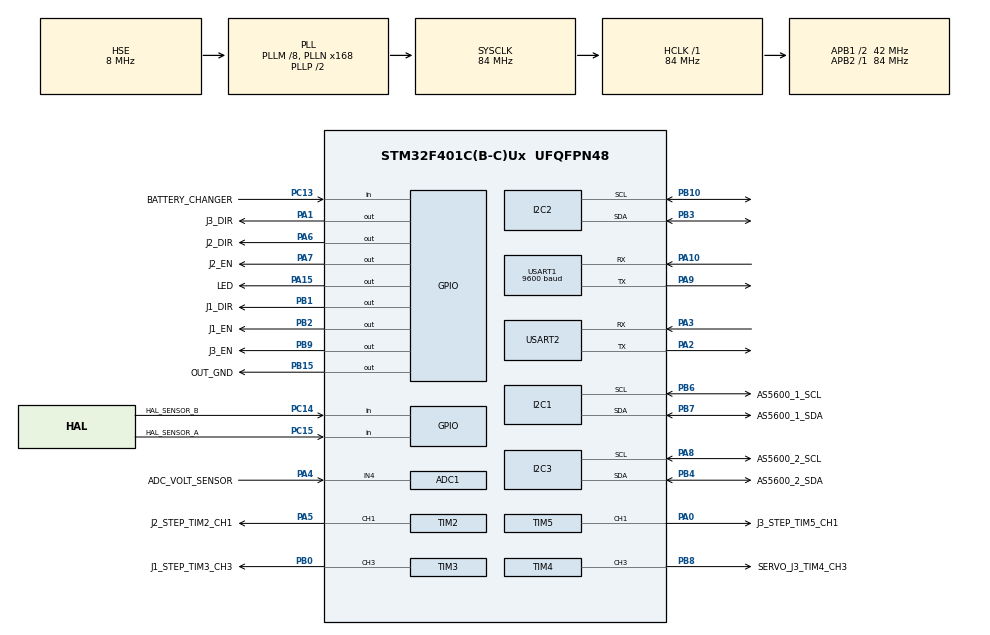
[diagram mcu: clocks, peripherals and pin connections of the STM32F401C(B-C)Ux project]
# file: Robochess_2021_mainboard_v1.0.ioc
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VP_TIM5_VS_ClockSourceINT.Mode=Internal
NVIC.I2C1_EV_IRQn=true\:5\:0\:false\:false\:true\:true\:true\:true
PB10.Mode=I2C
Dma.USART1_RX.5.Mode=DMA_NORMAL
PA10.GPIO_PuPd=GPIO_PULLUP
NVIC.DMA1_Stream2_IRQn=true\:5\:0\:false\:false\:true\:true\:false\:true
PA3.GPIO_PuPd=GPIO_PULLUP
Dma.USART2_RX.6.MemDataAlignment=DMA_MDATAALIGN_BYTE
PA6.GPIO_Label=J2_DIR
PB6.GPIO_Label=AS5600_1_SCL
PC15-OSC32_OUT.GPIO_Label=HAL_SENSOR_A
Dma.I2C1_RX.3.Priority=DMA_PRIORITY_HIGH
RCC.SYSCLKSource=RCC_SYSCLKSOURCE_PLLCLK
Dma.USART2_RX.6.Direction=DMA_PERIPH_TO_MEMORY
Dma.I2C1_RX.3.FIFOMode=DMA_FIFOMODE_DISABLE
NVIC.TIM5_IRQn=true\:5\:0\:false\:false\:true\:true\:true\:true
RCC.APB2TimFreq_Value=84000000
Dma.ADC1.0.Direction=DMA_PERIPH_TO_MEMORY
VP_TIM10_VS_ClockSourceINT.Mode=Enable_Timer
PB6.Signal=I2C1_SCL
PB6.Mode=I2C
Dma.USART2_RX.6.Instance=DMA1_Stream5
Dma.ADC1.0.MemDataAlignment=DMA_MDATAALIGN_HALFWORD
Dma.I2C2_TX.2.Direction=DMA_MEMORY_TO_PERIPH
TIM5.Pulse-PWM\ Generation1\ CH1=2
Dma.I2C1_RX.3.Mode=DMA_NORMAL
Dma.I2C2_RX.1.Mode=DMA_NORMAL
TIM3.Pulse-PWM\ Generation3\ CH3=2
NVIC.TIM1_TRG_COM_TIM11_IRQn=true\:0\:0\:false\:false\:true\:false\:false\:true
Dma.I2C2_TX.2.Priority=DMA_PRIORITY_VERY_HIGH
TIM4.Channel-PWM\ Generation3\ CH3=TIM_CHANNEL_3
PB2.Signal=GPIO_Output
PB3.Mode=I2C
PC13-ANTI_TAMP.Signal=GPIO_Input
PB1.GPIO_Label=J1_DIR
Dma.ADC1.0.PeriphInc=DMA_PINC_DISABLE
NVIC.TIM2_IRQn=true\:5\:0\:false\:false\:true\:true\:true\:true
PA8.Signal=I2C3_SCL
TIM4.Period=20000
VP_FREERTOS_VS_CMSIS_V1.Mode=CMSIS_V1
NVIC.I2C1_ER_IRQn=true\:15\:0\:true\:false\:true\:true\:true\:true
ADC1.SamplingTime-0\#ChannelRegularConversion=ADC_SAMPLETIME_480CYCLES
Mcu.Package=UFQFPN48
PB9.Signal=GPIO_Output
TIM2.Prescaler=83
PB1.Signal=GPIO_Output
NVIC.TimeBase=TIM1_TRG_COM_TIM11_IRQn
Dma.USART1_RX.5.MemDataAlignment=DMA_MDATAALIGN_BYTE
Dma.I2C2_TX.2.FIFOMode=DMA_FIFOMODE_DISABLE
NVIC.TimeBaseIP=TIM11
PA10.Signal=USART1_RX
Dma.I2C2_RX.1.PeriphInc=DMA_PINC_DISABLE
NVIC.DMA2_Stream2_IRQn=true\:5\:0\:false\:false\:true\:true\:false\:true
RCC.APB1TimFreq_Value=84000000
Dma.I2C2_RX.1.MemDataAlignment=DMA_MDATAALIGN_BYTE
Dma.ADC1.0.FIFOMode=DMA_FIFOMODE_DISABLE
Dma.I2C2_TX.2.Instance=DMA1_Stream7
NVIC.USART1_IRQn=true\:5\:0\:true\:false\:true\:true\:true\:true
PA4.GPIO_Label=ADC_VOLT_SENSOR
ADC1.EOCSelection=ADC_EOC_SEQ_CONV
Dma.I2C1_RX.3.MemDataAlignment=DMA_MDATAALIGN_BYTE
Dma.I2C2_TX.2.MemDataAlignment=DMA_MDATAALIGN_BYTE
TIM4.Pulse-PWM\ Generation3\ CH3=1000
Dma.ADC1.0.Instance=DMA2_Stream0
FREERTOS.Tasks01=defaultTask,1,4096,StartDefaultTask,As weak,NULL,Dynamic,NULL,NULL;motorJ1Task,2,2048,StartTaskMotorJ1,As weak,NULL,Dynamic,NULL,NULL;motorJ2Task,2,2048,StartTaskMotorJ2,As weak,NULL,Dynamic,NULL,NULL;moveTask,3,1024,StartTaskMove,As weak,NULL,Dynamic,NULL,NULL;motorJ3Task,2,1024,StartTaskMotorJ3,As weak,NULL,Dynamic,NULL,NULL
ADC1.Rank-0\#ChannelRegularConversion=1
Dma.I2C3_RX.4.Mode=DMA_NORMAL
TIM3.AutoReloadPreload=TIM_AUTORELOAD_PRELOAD_ENABLE
PC13-ANTI_TAMP.GPIO_Label=BATTERY_CHANGER
Dma.I2C2_RX.1.FIFOMode=DMA_FIFOMODE_DISABLE
PH1\ -\ OSC_OUT.Mode=HSE-External-Oscillator
RCC.APB1CLKDivider=RCC_HCLK_DIV2
PC14-OSC32_IN.Signal=GPIO_Input
Dma.USART2_RX.6.PeriphInc=DMA_PINC_DISABLE
PA0-WKUP.GPIO_Label=J3_STEP_TIM5_CH1
PA0-WKUP.Signal=S_TIM5_CH1
Dma.USART2_RX.6.FIFOMode=DMA_FIFOMODE_DISABLE
I2C2.OwnAddress=0x23
PA3.Mode=Asynchronous
Dma.USART2_RX.6.MemInc=DMA_MINC_ENABLE
TIM3.Channel-PWM\ Generation3\ CH3=TIM_CHANNEL_3
PB8.GPIO_Label=SERVO_J3_TIM4_CH3
Dma.USART2_RX.6.Mode=DMA_NORMAL
PA8.GPIO_Label=AS5600_2_SCL
Dma.I2C3_RX.4.MemInc=DMA_MINC_ENABLE
Dma.I2C3_RX.4.MemDataAlignment=DMA_MDATAALIGN_BYTE
I2C1.I2C_Mode=I2C_Standard
Dma.ADC1.0.Priority=DMA_PRIORITY_LOW
PA9.Signal=USART1_TX
NVIC.I2C2_ER_IRQn=true\:15\:0\:true\:false\:true\:true\:true\:true
PB10.Signal=I2C2_SCL
Dma.I2C2_RX.1.Instance=DMA1_Stream2
PA5.Signal=S_TIM2_CH1_ETR
PH1\ -\ OSC_OUT.Signal=RCC_OSC_OUT
NVIC.TIM3_IRQn=true\:5\:0\:false\:false\:true\:true\:true\:true
Dma.USART1_RX.5.PeriphDataAlignment=DMA_PDATAALIGN_BYTE
Dma.I2C2_RX.1.Direction=DMA_PERIPH_TO_MEMORY
PB4.GPIO_Label=AS5600_2_SDA
PB15.GPIO_Label=OUT_GND
PA1.GPIO_Label=J3_DIR
SH.ADCx_IN4.0=ADC1_IN4,IN4
TIM2.Period=1000
PA13.Mode=Serial_Wire
PA4.Signal=ADCx_IN4
ADC1.master=1
PA5.GPIO_Label=J2_STEP_TIM2_CH1
USART1.VirtualMode=VM_ASYNC
SH.S_TIM2_CH1_ETR.0=TIM2_CH1,PWM Generation1 CH1
TIM5.Channel-PWM\ Generation1\ CH1=TIM_CHANNEL_1
ProjectManager.HeapSize=0x200
Dma.I2C3_RX.4.Instance=DMA1_Stream1
NVIC.TIM1_UP_TIM10_IRQn=true\:5\:0\:false\:false\:true\:true\:true\:true
VP_TIM4_VS_ClockSourceINT.Mode=Internal
NVIC.PriorityGroup=NVIC_PRIORITYGROUP_4
NVIC.I2C3_ER_IRQn=true\:15\:0\:true\:false\:true\:true\:true\:true
TIM2.AutoReloadPreload=TIM_AUTORELOAD_PRELOAD_ENABLE
PA8.Mode=I2C
PB0.Signal=S_TIM3_CH3
Dma.I2C3_RX.4.FIFOMode=DMA_FIFOMODE_DISABLE
Mcu.Family=STM32F4
Dma.USART1_RX.5.FIFOMode=DMA_FIFOMODE_DISABLE
Dma.USART1_RX.5.Priority=DMA_PRIORITY_VERY_HIGH
PA2.GPIO_PuPd=GPIO_PULLUP
RCC.CortexFreq_Value=84000000
FREERTOS.BinarySemaphores01=binarySem_motorJ1,Dynamic,NULL;binarySem_motorJ2,Dynamic,NULL;binarySem_masterCmd,Dynamic,NULL;binarySem_motorJ3,Dynamic,NULL
Dma.I2C1_RX.3.Direction=DMA_PERIPH_TO_MEMORY
ADC1.ContinuousConvMode=ENABLE
Dma.USART1_RX.5.Direction=DMA_PERIPH_TO_MEMORY
USART1.BaudRate=9600
PB0.GPIO_Label=J1_STEP_TIM3_CH3
PB15.Signal=GPIO_Output
ProjectManager.StackSize=0x400
NVIC.ADC_IRQn=true\:15\:0\:true\:false\:true\:true\:true\:true
PA15.GPIO_Label=LED
Dma.USART1_RX.5.MemInc=DMA_MINC_ENABLE
PH0\ -\ OSC_IN.Signal=RCC_OSC_IN
PA7.PinState=GPIO_PIN_SET
RCC.HCLKFreq_Value=84000000
Dma.I2C3_RX.4.Priority=DMA_PRIORITY_HIGH
Dma.I2C2_RX.1.MemInc=DMA_MINC_ENABLE
ADC1.Resolution=ADC_RESOLUTION_10B
TIM3.Period=1000
NVIC.DMA2_Stream0_IRQn=true\:5\:0\:false\:false\:true\:true\:false\:true
RCC.AHBFreq_Value=84000000
ADC1.Channel-0\#ChannelRegularConversion=ADC_CHANNEL_4
TIM10.AutoReloadPreload=TIM_AUTORELOAD_PRELOAD_ENABLE
RCC.HSE_VALUE=8000000
FREERTOS.configUSE_TIMERS=1
NVIC.I2C3_EV_IRQn=true\:5\:0\:false\:false\:true\:true\:true\:true
PB4.Mode=I2C
Dma.I2C2_TX.2.MemInc=DMA_MINC_ENABLE
PA14.Mode=Serial_Wire
TIM3.Prescaler=83
PB7.Signal=I2C1_SDA
TIM2.Channel-PWM\ Generation1\ CH1=TIM_CHANNEL_1
FREERTOS.configTOTAL_HEAP_SIZE=42000
NVIC.DMA1_Stream7_IRQn=true\:5\:0\:false\:false\:true\:true\:false\:true
PB7.GPIO_Label=AS5600_1_SDA
Dma.I2C1_RX.3.PeriphInc=DMA_PINC_DISABLE
PA6.Signal=GPIO_Output
USART2.VirtualMode=VM_ASYNC
PA15.Signal=GPIO_Output
Dma.Request2=I2C2_TX
Dma.Request1=I2C2_RX
Dma.Request4=I2C3_RX
Dma.Request3=I2C1_RX
Dma.Request6=USART2_RX
SH.S_TIM5_CH1.0=TIM5_CH1,PWM Generation1 CH1
Dma.Request5=USART1_RX
NVIC.DMA1_Stream0_IRQn=true\:5\:0\:false\:false\:true\:true\:false\:true
PC14-OSC32_IN.GPIO_Label=HAL_SENSOR_B
I2C2.GeneralCallMode=I2C_GENERALCALL_DISABLE
Dma.Request0=ADC1
I2C2.I2C_Mode=I2C_Fast
VP_TIM3_VS_ClockSourceINT.Mode=Internal
PB4.Signal=I2C3_SDA
PA3.Signal=USART2_RX
Dma.USART2_RX.6.PeriphDataAlignment=DMA_PDATAALIGN_BYTE
RCC.PLLSourceVirtual=RCC_PLLSOURCE_HSE
TIM10.Prescaler=83
I2C3.I2C_Mode=I2C_Standard
TIM4.AutoReloadPreload=TIM_AUTORELOAD_PRELOAD_DISABLE
PB9.GPIO_Label=J3_EN
PA10.Mode=Asynchronous
Dma.I2C2_TX.2.Mode=DMA_NORMAL
Dma.I2C1_RX.3.PeriphDataAlignment=DMA_PDATAALIGN_BYTE
NVIC.DMA1_Stream1_IRQn=true\:5\:0\:false\:false\:true\:true\:false\:true
Dma.I2C3_RX.4.PeriphInc=DMA_PINC_DISABLE
SH.S_TIM3_CH3.0=TIM3_CH3,PWM Generation3 CH3
PA9.GPIO_PuPd=GPIO_PULLUP
NVIC.USART2_IRQn=true\:5\:0\:false\:false\:true\:true\:true\:true
TIM5.AutoReloadPreload=TIM_AUTORELOAD_PRELOAD_ENABLE
TIM2.Pulse-PWM\ Generation1\ CH1=2
PA13.Signal=SYS_JTMS-SWDIO
Dma.ADC1.0.PeriphDataAlignment=DMA_PDATAALIGN_HALFWORD
PA9.Mode=Asynchronous
Dma.USART1_RX.5.PeriphInc=DMA_PINC_DISABLE
PH0\ -\ OSC_IN.Mode=HSE-External-Oscillator
Dma.I2C2_TX.2.PeriphDataAlignment=DMA_PDATAALIGN_BYTE
ProjectManager.TargetToolchain=STM32CubeIDE
NVIC.DMA1_Stream5_IRQn=true\:5\:0\:false\:false\:true\:true\:false\:true
Dma.ADC1.0.Mode=DMA_NORMAL
SH.S_TIM4_CH3.0=TIM4_CH3,PWM Generation3 CH3
TIM4.Prescaler=83
RCC.LSE_VALUE=32768
PC15-OSC32_OUT.Signal=GPIO_Input
PA1.Signal=GPIO_Output
Dma.I2C2_RX.1.PeriphDataAlignment=DMA_PDATAALIGN_BYTE
board=custom
Dma.I2C2_TX.2.PeriphInc=DMA_PINC_DISABLE
RCC.VCOOutputFreq_Value=168000000
TIM10.Period=1000
RCC.APB2Freq_Value=84000000
VP_TIM2_VS_ClockSourceINT.Mode=Internal
Dma.I2C3_RX.4.Direction=DMA_PERIPH_TO_MEMORY
VP_SYS_VS_tim11.Mode=TIM11
PB2.PinState=GPIO_PIN_SET
Mcu.Name=STM32F401C(B-C)Ux
Dma.I2C1_RX.3.Instance=DMA1_Stream0
PA2.Signal=USART2_TX
Dma.I2C3_RX.4.PeriphDataAlignment=DMA_PDATAALIGN_BYTE
RCC.48MHZClocksFreq_Value=42000000
PB3.Signal=I2C2_SDA
RCC.SYSCLKFreq_VALUE=84000000
PA7.GPIO_Label=J2_EN
TIM5.Prescaler=83
PB7.Mode=I2C
PA14.Signal=SYS_JTCK-SWCLK
Dma.ADC1.0.MemInc=DMA_MINC_ENABLE
PB2.GPIO_Label=J1_EN
NVIC.I2C2_EV_IRQn=true\:5\:0\:true\:false\:true\:true\:true\:true
RCC.HSI_VALUE=16000000
Dma.I2C1_RX.3.MemInc=DMA_MINC_ENABLE
Dma.USART2_RX.6.Priority=DMA_PRIORITY_HIGH
ADC1.NbrOfConversionFlag=1
RCC.PLLM=8
RCC.PLLN=168
Dma.USART1_RX.5.Instance=DMA2_Stream2
PB8.Signal=S_TIM4_CH3
PA2.Mode=Asynchronous
TIM5.Period=1000
Dma.I2C2_RX.1.Priority=DMA_PRIORITY_VERY_HIGH
RCC.APB1Freq_Value=42000000
ADC1.ClockPrescaler=ADC_CLOCK_SYNC_PCLK_DIV8
PA7.Signal=GPIO_Output

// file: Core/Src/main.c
/* USER CODE BEGIN Header */
/**
  ******************************************************************************
  * @file           : main.c
  * @brief          : Main program body
  ******************************************************************************
  * @attention
  *
  * <h2><center>&copy; Copyright (c) 2021 STMicroelectronics.
  * All rights reserved.</center></h2>
  *
  * This software component is licensed by ST under BSD 3-Clause license,
  * the "License"; You may not use this file except in compliance with the
  * License. You may obtain a copy of the License at:
  *                        opensource.org/licenses/BSD-3-Clause
  *
  ******************************************************************************
  */
/* USER CODE END Header */
#include "main.h"
#include "cmsis_os.h"
#include "adc.h"
#include "dma.h"
#include "i2c.h"
#include "tim.h"
#include "usart.h"
#include "gpio.h"

/* USER CODE BEGIN Includes */
#include "AS5600.h"
#include <stdbool.h>
#include <string.h>
#include <stdio.h>
#include "eeprom.h"
/* USER CODE END Includes */

/* USER CODE BEGIN PD */
#define UART2_BUFFER_LENGTH	10
#define UART1_BUFFER_LENGTH	100
/* USER CODE END PD */

/* USER CODE BEGIN PV */
extern bool FLAG_AS5600_M1, FLAG_AS5600_M2;
UART_HandleTypeDef huart2;
DMA_HandleTypeDef hdma_usart2_rx;
DMA_HandleTypeDef hdma_usart1_rx;

uint8_t uart2_rx_buf[UART2_BUFFER_LENGTH];
uint8_t uart2_main_buf[UART2_BUFFER_LENGTH];
bool uart2_onData=false;
uint8_t uart2_data_length;

uint8_t uart1_rx_buf[UART1_BUFFER_LENGTH];
uint8_t uart1_main_buf[UART1_BUFFER_LENGTH];
bool uart1_onData=false;
uint8_t uart1_data_length;

//eeprom
uint16_t VirtAddVarTab[NB_OF_VAR] = {0x5555, 0x6666, 0x7777};
uint16_t VarDataTab[NB_OF_VAR] = {0, 0, 0};
uint16_t VarValue,VarDataTmp = 0;
/* USER CODE END PV */

void SystemClock_Config(void);
void MX_FREERTOS_Init(void);
/* USER CODE BEGIN PFP */
int _write(int file, char *ptr, int len)
{
  /* Implement your write code here, this is used by puts and printf for example */
    HAL_UART_Transmit(&huart2, (uint8_t *)ptr, len, 1000);
  return len;
}

void HAL_UARTEx_RxEventCallback(UART_HandleTypeDef *huart, uint16_t Size){
	if(huart->Instance==USART2){
		memcpy(uart2_main_buf,uart2_rx_buf,UART2_BUFFER_LENGTH);
		uart2_onData=true;
		uart2_data_length=Size;
		HAL_UARTEx_ReceiveToIdle_DMA(&huart2, uart2_rx_buf, UART2_BUFFER_LENGTH);
	}else if(huart->Instance==USART1){
		memcpy(uart1_main_buf,uart1_rx_buf,UART1_BUFFER_LENGTH);
		uart1_onData=true;
		uart1_data_length=Size;
		HAL_UARTEx_ReceiveToIdle_DMA(&huart1, uart1_rx_buf, UART1_BUFFER_LENGTH);
	}
}
void HAL_UART_ErrorCallback(UART_HandleTypeDef *huart){
	if(huart->Instance==USART1){
		for(int i=0;i<50;i++){
			HAL_GPIO_TogglePin(LED_GPIO_Port, LED_Pin);
			HAL_Delay(100);

		}
		HAL_NVIC_SystemReset();
	}
}

/* USER CODE END PFP */

int main(void)
{

  /* MCU Configuration--------------------------------------------------------*/

  /* Reset of all peripherals, Initializes the Flash interface and the Systick. */
  HAL_Init();

  /* Configure the system clock */
  SystemClock_Config();

  /* USER CODE BEGIN SysInit */
  HAL_FLASH_Unlock();
  if( EE_Init() != EE_OK)
  {
    Error_Handler();
  }
  /* USER CODE END SysInit */

  /* Initialize all configured peripherals */
  MX_GPIO_Init();
  MX_DMA_Init();
  MX_USART1_UART_Init();
  MX_ADC1_Init();
  MX_TIM2_Init();
  MX_TIM3_Init();
  MX_TIM4_Init();
  MX_TIM10_Init();
  MX_I2C1_Init();
  MX_I2C2_Init();
  MX_I2C3_Init();
  MX_USART2_UART_Init();
  MX_TIM5_Init();
  /* USER CODE BEGIN 2 */

  HAL_UART_Transmit(&huart2,(uint8_t *)"hellobaby\r\n",11,1000);
  HAL_UART_Transmit(&huart1,(uint8_t *)"hellobaby\r\n",11,1000);

  HAL_UARTEx_ReceiveToIdle_DMA(&huart2, uart2_rx_buf, UART2_BUFFER_LENGTH);
  __HAL_DMA_DISABLE_IT(&hdma_usart2_rx,DMA_IT_HT);
  HAL_UARTEx_ReceiveToIdle_DMA(&huart1, uart1_rx_buf, UART1_BUFFER_LENGTH);
  __HAL_DMA_DISABLE_IT(&hdma_usart1_rx,DMA_IT_HT);
  /* USER CODE END 2 */

  /* Call init function for freertos objects (in freertos.c) */
  MX_FREERTOS_Init();
  /* Start scheduler */
  osKernelStart();

  /* We should never get here as control is now taken by the scheduler */
  /* Infinite loop */
  /* USER CODE BEGIN WHILE */
  while (1)
  {
	  HAL_GPIO_TogglePin(LED_GPIO_Port, LED_Pin);
	  HAL_Delay(100);
    /* USER CODE END WHILE */

  }
}

void SystemClock_Config(void)
{
  RCC_OscInitTypeDef RCC_OscInitStruct = {0};
  RCC_ClkInitTypeDef RCC_ClkInitStruct = {0};

  /** Configure the main internal regulator output voltage
  */
  __HAL_RCC_PWR_CLK_ENABLE();
  __HAL_PWR_VOLTAGESCALING_CONFIG(PWR_REGULATOR_VOLTAGE_SCALE2);
  /** Initializes the RCC Oscillators according to the specified parameters
  * in the RCC_OscInitTypeDef structure.
  */
  RCC_OscInitStruct.OscillatorType = RCC_OSCILLATORTYPE_HSE;
  RCC_OscInitStruct.HSEState = RCC_HSE_ON;
  RCC_OscInitStruct.PLL.PLLState = RCC_PLL_ON;
  RCC_OscInitStruct.PLL.PLLSource = RCC_PLLSOURCE_HSE;
  RCC_OscInitStruct.PLL.PLLM = 8;
  RCC_OscInitStruct.PLL.PLLN = 168;
  RCC_OscInitStruct.PLL.PLLP = RCC_PLLP_DIV2;
  RCC_OscInitStruct.PLL.PLLQ = 4;
  if (HAL_RCC_OscConfig(&RCC_OscInitStruct) != HAL_OK)
  {
    Error_Handler();
  }
  /** Initializes the CPU, AHB and APB buses clocks
  */
  RCC_ClkInitStruct.ClockType = RCC_CLOCKTYPE_HCLK|RCC_CLOCKTYPE_SYSCLK
                              |RCC_CLOCKTYPE_PCLK1|RCC_CLOCKTYPE_PCLK2;
  RCC_ClkInitStruct.SYSCLKSource = RCC_SYSCLKSOURCE_PLLCLK;
  RCC_ClkInitStruct.AHBCLKDivider = RCC_SYSCLK_DIV1;
  RCC_ClkInitStruct.APB1CLKDivider = RCC_HCLK_DIV2;
  RCC_ClkInitStruct.APB2CLKDivider = RCC_HCLK_DIV1;

  if (HAL_RCC_ClockConfig(&RCC_ClkInitStruct, FLASH_LATENCY_2) != HAL_OK)
  {
    Error_Handler();
  }
}

 /**
  * @brief  Period elapsed callback in non blocking mode
  * @note   This function is called  when TIM11 interrupt took place, inside
  * HAL_TIM_IRQHandler(). It makes a direct call to HAL_IncTick() to increment
  * a global variable "uwTick" used as application time base.
  * @param  htim : TIM handle
  * @retval None
  */
void HAL_TIM_PeriodElapsedCallback(TIM_HandleTypeDef *htim)
{
  if (htim->Instance == TIM11) {
    HAL_IncTick();
  }
  /* USER CODE BEGIN Callback 1 */
  if(htim->Instance == TIM10){ // UPDATE AS5600
           if(FLAG_AS5600_M1==HAL_OK){
          	 AS5600_M1_getPOS();
           }
           if(FLAG_AS5600_M2 == HAL_OK){
          	 AS5600_M2_getPOS();
           }
    }
  /* USER CODE END Callback 1 */
}

void Error_Handler(void)
{
  __disable_irq();
  while (1)
  {
  }
}

/************************ (C) COPYRIGHT STMicroelectronics *****END OF FILE****/

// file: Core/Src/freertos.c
/* USER CODE BEGIN Header */
/**
  ******************************************************************************
  * File Name          : freertos.c
  * Description        : Code for freertos applications
  ******************************************************************************
  * @attention
  *
  * <h2><center>&copy; Copyright (c) 2021 STMicroelectronics.
  * All rights reserved.</center></h2>
  *
  * This software component is licensed by ST under Ultimate Liberty license
  * SLA0044, the "License"; You may not use this file except in compliance with
  * the License. You may obtain a copy of the License at:
  *                             www.st.com/SLA0044
  *
  ******************************************************************************
  */
/* USER CODE END Header */

#include "FreeRTOS.h"
#include "task.h"
#include "main.h"
#include "cmsis_os.h"

/* USER CODE BEGIN Includes */
#include <stdio.h>
#include <stdlib.h>
#include <stdbool.h>
#include "usart.h"
#include "AS5600.h"
#include "i2c.h"
#include "pickAndDrop.h"
#include "batteryVolt.h"
#include "AccelStepper.h"
#include <string.h>
#include <math.h>
#include "eeprom.h"
/* USER CODE END Includes */

/* USER CODE BEGIN PD */
#define J1_SPEED		12000//10000
#define J1_ACCEL_MAX	500000
#define j1_ACCEL_MIN	100000
#define J2_SPEED		40000//20000
#define J2_ACCEL_MAX	120000//120000
#define J2_ACCEL_MIN	90000
#define J3_SPEED		13000
#define J3_ACCEL_MAX	200000//70000
#define J3_ACCEL_MIN	5000
#define J3_LIMIT_DOWN		0
#define J3_LIMIT_UP	 	-2400 ///-3350

#define MOVE_PIECE				1
#define MOVE_HOME				2
#define MOVE_KILL				3
#define MOVE_BCASLLINGG_QUEEN  	4
#define MOVE_BCASLLING_KING    	5
#define MOVE_PASSANT			6
#define MOVE_WCASLLINGG_QUEEN  	7
#define MOVE_WCASLLING_KING    	8

// User Debug
#define MDEBUG
//#define USERGETPOS // need disable TaskMotor

#define CMD_INFO		'I'
#define CMD_GRIPPER 	'G'
#define CMD_PICK		'p'
#define CMD_PICKPIECE	'P'
#define CMD_MOVE		'm'
#define CMD_MOVEPIECE	'M'
#define CMD_WRITEPOS	'W'
#define CMD_READPOS		'R'
#define CMD_INFOBAT		'i'
#define CMD_MOVETEST	'T'
#define CMD_RESET_SQUARE_KILL 'X'

#define CMD_GETPOS 		'S'
#define CMD_GETPOS_BACK 'b'
#define CMD_GETPOS_NEXT 'N'

#define ADDR_EE_POSJ1 0x5555
#define ADDR_EE_POSJ2 0x7777

/* USER CODE END PD */

/* USER CODE BEGIN PM */
extern uint8_t uart2_main_buf[];
extern bool uart2_onData;
extern uint8_t uart2_data_length;
extern uint8_t uart1_main_buf[];
extern bool uart1_onData;
extern uint8_t uart1_data_length;
struct Point{
	uint16_t j1,j2;
};

struct Point square1,square2;
struct Point square[80];
uint8_t square_kill_number=0;		// Variable save Square kiled
uint16_t num_squa=0;

//test
uint32_t i2c_code_error;
uint8_t kaka=0;

void moveToSquare(uint8_t point,bool continues);		// Point: square in board , continues: tiep tuc di chuyen ngay sau do hay khong?
void movePiece(uint8_t qFrom,uint8_t qTo,uint8_t option);	// qFrom: square from is move , qTo: square to is move , option:MOVE_PIECE,MOVE_KILL,MOVE_CALLING
void moveToHome();										// move to home and off motor
void moveToKill();
void updateInfo();
void updateSquarePosition(uint16_t squa);
void readSquarePosition();

void pickAndDropInit();
void pickupPiece();
void dropPiece();
int j3MoveUp(bool keep_enable);
int j3MoveDown();

bool user_calibase =false;
int battery_save=0;
char sbattery[9];
char scharging[7];
char sinfo[15]; // "-I1234 4321 0 1" - J1+J2+Hallup+halldown
char sinfobat[10];  // "-i1234 1"  - bat + charger
bool charging = false;
//enum {J3_UP,J3_DOWN,J3_NONE}J3_state;

//test
void testDebug();
/* USER CODE END PM */

/* USER CODE BEGIN Variables */

extern I2C_HandleTypeDef hi2c1;
extern I2C_HandleTypeDef hi2c2;						// AS5600_J1
extern I2C_HandleTypeDef hi2c3;						// AS5600_J2
extern TIM_HandleTypeDef htim3; 					// STEPPER_J1
extern TIM_HandleTypeDef htim2;						// STEPPER_J2
extern uint16_t data_AS5600_M1,data_AS5600_M2;		// Data of AS5600.c
struct AccelStepperData motor_j1_data,motor_j2_data,motor_j3_data;// Variable of Stepper
uint16_t accel_j1_tik=0,accel_j2_tik=0;			// Variable of Change Accel
bool new_master_cmd = false;						// su ly sau khi nhan duoc data tu master
uint8_t square_getpos=0;	// for debug getpos
/* Protocol i2c-interface Write: 4 Byte
* [CMD]--[DATA0]-[DATA1]-[DATA2]
* CMD: 1 => Move Piece , qFrom = DATA0 , sTo = DATA1 , option = DATA2.
* CMD: 2 => Move Home
* Protocol i2c-interface Read:	10 Byte
* [AS5600_J1]-[AS5600-J2]-[BATTERY]-[STATUS]
* 	2-Byte		2-Byte		2-Byte	  1-Byte
* 	STATUS: 0b76543210 => 0:Hal_sensor_up 1:Hal_sensor_down 2:Bat_Changer 3:isFinish
*/
uint8_t data_trans_master[7];
uint8_t data_rev_master[4];
bool moveIsFinish = false;

/* USER CODE END Variables */
osThreadId defaultTaskHandle;
osThreadId motorJ1TaskHandle;
osThreadId motorJ2TaskHandle;
osThreadId moveTaskHandle;
osThreadId motorJ3TaskHandle;
osSemaphoreId binarySem_motorJ1Handle;
osSemaphoreId binarySem_motorJ2Handle;
osSemaphoreId binarySem_masterCmdHandle;
osSemaphoreId binarySem_motorJ3Handle;

/* USER CODE BEGIN FunctionPrototypes */

// for Motor J1 J2
void HAL_TIM_PWM_PulseFinishedCallback(TIM_HandleTypeDef *htim)
{
	if(htim->Instance==TIM3)								// Stepper J1
	{
		if(user_calibase==false) motor_j1_data._currentPos = data_AS5600_M1;			// Set Current Position
		osSemaphoreRelease(binarySem_motorJ1Handle);		// Release Semaphore for Calculator Stepper (run)
		if(user_calibase) return;
		accel_j1_tik++;
		if(accel_j1_tik==500)								// Changer Accel
		{
			accel_j1_tik=0;
			long distance = distanceToGo(&motor_j1_data);
			if(labs(distance) < 150){
				setAcceleration(&motor_j1_data, j1_ACCEL_MIN);
			}else{
				setAcceleration(&motor_j1_data, J1_ACCEL_MAX);
			}
		}
	}
	if(htim->Instance==TIM2)								// Stepper J2
	{
		if(user_calibase == false) motor_j2_data._currentPos = data_AS5600_M2;		// Set Current Position
		osSemaphoreRelease(binarySem_motorJ2Handle);	// Release Semaphore for Calculator Stepper (run)
		if(user_calibase) return;
		accel_j2_tik++;
		if(accel_j2_tik==500)
		{
			accel_j2_tik=0;
			long distance = distanceToGo(&motor_j2_data);
			if(labs(distance) < 150){
				setAcceleration(&motor_j2_data, J2_ACCEL_MIN);
			}else{
				setAcceleration(&motor_j2_data, J2_ACCEL_MAX);
			}
		}
	}
	if(htim->Instance==TIM5)								// Stepper J3
	{
		osSemaphoreRelease(binarySem_motorJ3Handle);	// Release Semaphore for Calculator Stepper (run)
	}
}

// I2C-Interface
void HAL_I2C_AddrCallback(I2C_HandleTypeDef *hi2c, uint8_t TransferDirection, uint16_t AddrMatchCode)
{
	if(hi2c->Instance==I2C2)
	{
		if(TransferDirection == I2C_DIRECTION_TRANSMIT)
		{
			HAL_I2C_Slave_Seq_Receive_DMA(&hi2c2,data_rev_master,4,I2C_FIRST_AND_LAST_FRAME);
		}else if(TransferDirection == I2C_DIRECTION_RECEIVE)
		{
			HAL_I2C_Slave_Seq_Transmit_DMA(&hi2c2, data_trans_master, 7, I2C_LAST_FRAME);
		}
	}
}
// 	I2C2 for interface
void HAL_I2C_ListenCpltCallback(I2C_HandleTypeDef *hi2c)
{
	HAL_I2C_EnableListen_IT(&hi2c2);
}
void HAL_I2C_SlaveRxCpltCallback(I2C_HandleTypeDef *hi2c)
{
	if(hi2c->Instance==I2C2)
	{
		osSemaphoreRelease(binarySem_masterCmdHandle);// sau khi nhan duoc lenh tu master
	}
}

// Handler I2C Error
extern bool FLAG_AS5600_M1, FLAG_AS5600_M2;
void HAL_I2C_ErrorCallback(I2C_HandleTypeDef *hi2c){
	if(hi2c->Instance==I2C1){
       FLAG_AS5600_M1 = HAL_ERROR;
	}
	if(hi2c->Instance==I2C3){
		FLAG_AS5600_M2 = HAL_ERROR;
	}
	 if(hi2c->Instance==I2C2){
		 i2c_code_error = hi2c->ErrorCode;
		 printf("i2c-2 error:%d\r\n",(int)i2c_code_error);
	 }
}
/* USER CODE END FunctionPrototypes */

void StartDefaultTask(void const * argument);
void StartTaskMotorJ1(void const * argument);
void StartTaskMotorJ2(void const * argument);
void StartTaskMove(void const * argument);
void StartTaskMotorJ3(void const * argument);

void MX_FREERTOS_Init(void); /* (MISRA C 2004 rule 8.1) */

/* GetIdleTaskMemory prototype (linked to static allocation support) */
void vApplicationGetIdleTaskMemory( StaticTask_t **ppxIdleTaskTCBBuffer, StackType_t **ppxIdleTaskStackBuffer, uint32_t *pulIdleTaskStackSize );

/* GetTimerTaskMemory prototype (linked to static allocation support) */
void vApplicationGetTimerTaskMemory( StaticTask_t **ppxTimerTaskTCBBuffer, StackType_t **ppxTimerTaskStackBuffer, uint32_t *pulTimerTaskStackSize );

/* USER CODE BEGIN GET_IDLE_TASK_MEMORY */
static StaticTask_t xIdleTaskTCBBuffer;
static StackType_t xIdleStack[configMINIMAL_STACK_SIZE];

void vApplicationGetIdleTaskMemory( StaticTask_t **ppxIdleTaskTCBBuffer, StackType_t **ppxIdleTaskStackBuffer, uint32_t *pulIdleTaskStackSize )
{
  *ppxIdleTaskTCBBuffer = &xIdleTaskTCBBuffer;
  *ppxIdleTaskStackBuffer = &xIdleStack[0];
  *pulIdleTaskStackSize = configMINIMAL_STACK_SIZE;
  /* place for user code */
}
/* USER CODE END GET_IDLE_TASK_MEMORY */

/* USER CODE BEGIN GET_TIMER_TASK_MEMORY */
static StaticTask_t xTimerTaskTCBBuffer;
static StackType_t xTimerStack[configTIMER_TASK_STACK_DEPTH];

void vApplicationGetTimerTaskMemory( StaticTask_t **ppxTimerTaskTCBBuffer, StackType_t **ppxTimerTaskStackBuffer, uint32_t *pulTimerTaskStackSize )
{
  *ppxTimerTaskTCBBuffer = &xTimerTaskTCBBuffer;
  *ppxTimerTaskStackBuffer = &xTimerStack[0];
  *pulTimerTaskStackSize = configTIMER_TASK_STACK_DEPTH;
  /* place for user code */
}
/* USER CODE END GET_TIMER_TASK_MEMORY */

void MX_FREERTOS_Init(void) {

  /* Create the semaphores(s) */
  /* definition and creation of binarySem_motorJ1 */
  osSemaphoreDef(binarySem_motorJ1);
  binarySem_motorJ1Handle = osSemaphoreCreate(osSemaphore(binarySem_motorJ1), 1);

  /* definition and creation of binarySem_motorJ2 */
  osSemaphoreDef(binarySem_motorJ2);
  binarySem_motorJ2Handle = osSemaphoreCreate(osSemaphore(binarySem_motorJ2), 1);

  /* definition and creation of binarySem_masterCmd */
  osSemaphoreDef(binarySem_masterCmd);
  binarySem_masterCmdHandle = osSemaphoreCreate(osSemaphore(binarySem_masterCmd), 1);

  /* definition and creation of binarySem_motorJ3 */
  osSemaphoreDef(binarySem_motorJ3);
  binarySem_motorJ3Handle = osSemaphoreCreate(osSemaphore(binarySem_motorJ3), 1);

  /* Create the thread(s) */
  /* definition and creation of defaultTask */
  osThreadDef(defaultTask, StartDefaultTask, osPriorityAboveNormal, 0, 4096);
  defaultTaskHandle = osThreadCreate(osThread(defaultTask), NULL);

  /* definition and creation of motorJ1Task */
  osThreadDef(motorJ1Task, StartTaskMotorJ1, osPriorityHigh, 0, 2048);
  motorJ1TaskHandle = osThreadCreate(osThread(motorJ1Task), NULL);

  /* definition and creation of motorJ2Task */
  osThreadDef(motorJ2Task, StartTaskMotorJ2, osPriorityHigh, 0, 2048);
  motorJ2TaskHandle = osThreadCreate(osThread(motorJ2Task), NULL);

  /* definition and creation of moveTask */
  osThreadDef(moveTask, StartTaskMove, osPriorityRealtime, 0, 1024);
  moveTaskHandle = osThreadCreate(osThread(moveTask), NULL);

  /* definition and creation of motorJ3Task */
  osThreadDef(motorJ3Task, StartTaskMotorJ3, osPriorityHigh, 0, 1024);
  motorJ3TaskHandle = osThreadCreate(osThread(motorJ3Task), NULL);

}

__weak void StartDefaultTask(void const * argument)
{
  /* USER CODE BEGIN StartDefaultTask */
	for(int k=0;k<6;k++){				// nháy LED 3 lần khi khởi động
		HAL_GPIO_TogglePin(LED_GPIO_Port, LED_Pin);
		osDelay(250);
	}
#ifdef MDEBUG
	printf("Robochess 2021\r\n");		// in thông báo khởi tạo qua UART2
#endif
	readSquarePosition();				// đọc vị trí Squares từ EEPROM-SIMULATOR
	AS5600_Start_Update();				// Start Tim10 & get data of AS5600
	batteryVoltInit();
	pickAndDropInit();
  /* Infinite loop */
  for(;;)
  {
	  updateInfo(); // edit -> tách biệt các nhiệm vụ, chỉ cần đọc các thông tin khi có yêu cầu

#ifdef MDEBUGk
	  if(uart1_onData){
		  uart1_onData=false; //realease
		  printf("Rev %dBYTE: %s\r\n",uart1_data_length,uart1_main_buf);
		  // Gripper
		  if(uart1_main_buf[0]==CMD_GRIPPER){
			  char sval[1];
			  sval[0]=uart1_main_buf[1];
			  int val=atoi(sval);
			  if(val==0){
				  SERVO_DROP;
				  printf("Gripper open\r\n");
			  }else if(val==1){
				  SERVO_PICKUP;
				  printf("Gripper close\r\n");
			  }
		// Info
		  }else if(uart1_main_buf[0]==CMD_INFO){
			  snprintf(sinfo,sizeof(sinfo),"-I%04d%04d%d%d\r\n",data_AS5600_M1,data_AS5600_M2,HAL_SENSOR_UP_GET,HAL_SENSOR_DOWN_GET);
			  HAL_UART_Transmit(&huart1,(uint8_t*)sinfo,14,1000);
		 	  printf("AS5600_J1:%d_J2:%d Hal_Up:%d_Down:%d Bat:%2d Status:%d\r\n",
		 			  data_AS5600_M1,data_AS5600_M2,HAL_SENSOR_UP_GET,HAL_SENSOR_DOWN_GET,
					  batteryGet(),data_trans_master[6]);
		 	  printf("-B%04d\r\n",batteryGet());
		 	  printf("-b%d\r\n",HAL_GPIO_ReadPin(BATTERY_CHANGER_GPIO_Port, BATTERY_CHANGER_Pin));

		// info battery
		  }else if(uart1_main_buf[0]==CMD_INFOBAT){
			  snprintf(sinfobat,sizeof(sinfobat),"-i%04d%d\r\n",batteryGet(),HAL_GPIO_ReadPin(BATTERY_CHANGER_GPIO_Port, BATTERY_CHANGER_Pin));
			  HAL_UART_Transmit(&huart1,(uint8_t*)sinfobat,9,1000);
		// PICK
		  }else if(uart1_main_buf[0]==CMD_PICK){
			  char sval[1];
			  sval[0]=uart1_main_buf[1];
			  int val=atoi(sval);
			  if(val==0){
				  printf("J3 MOVE UP\r\n");
				  j3MoveUp(false);
			  }else if(val==1){
				  printf("J3 MOVE DOWN\r\n");
				  j3MoveDown();
			  }
		// PICK PIECE
		  }else if(uart1_main_buf[0]==CMD_PICKPIECE){
			  char sval[1];
			  sval[0]=uart1_main_buf[1];
			  int val=atoi(sval);
			  if(val==0){
				  printf("DROP PIECE\r\n");
				  dropPiece();
			  }else if(val==1){
				  printf("PICKUP PIECE\r\n");
				  pickupPiece();
			  }
		// MOVE
		  }else if(uart1_main_buf[0]==CMD_MOVE){
			  char sval[2];
			  if(uart1_data_length>2){
				  sval[0]=uart1_main_buf[1];
				  sval[1]=uart1_main_buf[2];
			  }else{
				  sval[0]='0';
				  sval[1]=uart1_main_buf[1];
			  }
			  int val=atoi(sval);
			  if(val>=0 && val<80){
				  printf("MOVE TO SQUARE:%d\r\n",val);
				  moveToSquare(val, false);
			  }else{
				  printf("ERROR! Cannot move to square %d\r\n",val);
			  }
		// MOVE PIECE
		  }else if(uart1_main_buf[0]==CMD_MOVEPIECE){
			  HAL_UART_Transmit(&huart1,(uint8_t*)"-Y\r\n",4,1000); // reply da nhan duoc lenh ok
			  char sFrom[2],sTo[2],sOption[1];
			  sFrom[0]=uart1_main_buf[1];
			  sFrom[1]=uart1_main_buf[2];
			  sTo[0]=uart1_main_buf[3];
			  sTo[1]=uart1_main_buf[4];
			  sOption[0]=uart1_main_buf[5];
			  int _from=atoi(sFrom);
			  int _to =atoi(sTo);
			  int _option =atoi(sOption);
			  if((_from>=0 && _from<80) && (_to>=0 && _to<80)){
				  printf("MOVEPIECE %d->%d Option:%d\r\n",_from,_to,_option);
				  movePiece(_from, _to, _option);
			  }else{
				  printf("ERROR! Out Range of square\r\n");
			  }
		  }else if(uart1_main_buf[0]=='w'){
			  char sdat[3];
			  sdat[0]=uart1_main_buf[1];
			  sdat[1]=uart1_main_buf[2];
			  uint16_t squa = atoi(sdat);
			  num_squa = squa;
			  if(num_squa>=80) return;
			  updateSquarePosition(num_squa);
			  printf("set square to %d\r\n",num_squa);
		  }else if(uart1_main_buf[0]=='r'){
			  readSquarePosition();
		  }
		  else if(uart1_main_buf[0]=='W'){
			  if(num_squa>=80) return;
		  	updateSquarePosition(num_squa);
		  	num_squa++;
		  	printf("next square:%d\r\n",num_squa);
		  }
		 HAL_GPIO_TogglePin(LED_GPIO_Port, LED_Pin);
	  }
#endif
	  osDelay(50);
  }
  /* USER CODE END StartDefaultTask */
}

__weak void StartTaskMotorJ1(void const * argument)
{
  /* USER CODE BEGIN StartTaskMotorJ1 */
	printf("Robochess 2021 -taskJ1\r\n");
		osDelay(2000);						// Wait for finish Init
		motor_j1_data.GPIO_PIN_Dir		= J1_DIR_Pin;
		motor_j1_data.GPIO_PORT_Dir		= J1_DIR_GPIO_Port;
		motor_j1_data.GPIO_PORT_Enable	= J1_EN_GPIO_Port;
		motor_j1_data.GPIO_PIN_Enable	= J1_EN_Pin;
		motor_j1_data.USER_TIMER		= TIM3;
		motor_j1_data.TIM_CHANEL		= TIM_CHANNEL_3;
		motor_j1_data.isStop			= false;
		AccelStepper_init(&motor_j1_data, htim3, data_AS5600_M1, J1_SPEED, J1_ACCEL_MAX);
#ifdef USERGETPOS
	enableStepper(&motor_j1_data, OFF);
	while(1){			// disable this task
		osDelay(1000);
	}
#endif
  /* Infinite loop */
  for(;;)
  {
	  osSemaphoreWait(binarySem_motorJ1Handle, osWaitForever);
	  	  run(&motor_j1_data);
  }
  /* USER CODE END StartTaskMotorJ1 */
}

__weak void StartTaskMotorJ2(void const * argument)
{
  /* USER CODE BEGIN StartTaskMotorJ2 */

		osDelay(2000);						// Wait for finish Init
		motor_j2_data.GPIO_PIN_Dir		= J2_DIR_Pin;
		motor_j2_data.GPIO_PORT_Dir		= J2_DIR_GPIO_Port;
		motor_j2_data.GPIO_PORT_Enable	= J2_EN_GPIO_Port;
		motor_j2_data.GPIO_PIN_Enable	= J2_EN_Pin;
		motor_j2_data.USER_TIMER		= TIM2;
		motor_j2_data.TIM_CHANEL		= TIM_CHANNEL_1;
		motor_j2_data.isStop			= false;
		AccelStepper_init(&motor_j2_data, htim2, data_AS5600_M2, J2_SPEED, J2_ACCEL_MAX);
#ifdef USERGETPOS
	enableStepper(&motor_j2_data, OFF);
	while(1){			// disable this task
		osDelay(1000);
	}
#endif
  /* Infinite loop */
  for(;;)
  {
	  osSemaphoreWait(binarySem_motorJ2Handle, osWaitForever);
	  run(&motor_j2_data);
  }
  /* USER CODE END StartTaskMotorJ2 */
}

/* USER CODE BEGIN Header_StartTaskMove */
/**
* @brief Function implementing the moveTask thread.
* @param argument: Not used
* @retval None
*/
/*	SoC --i2c -->MAINBOARD (write)
 *	[CMD]							[DATA0]					[DATA1]			[DATA2]
 *	1-GRIPPER					(O=open / 1=close)			(none)			(none)
 *	2-J3_UP_DOWN				(0=down / 1=up)				(none)			(none)
 *	3-PICK_&_DROP PIECE			(0=drop / 1=pick)			(none)			(none)
 * 	4-MOVE_TO_SQUARE			(square:0-79 (79=home))		(none)			(none)
 * 	5-MOVE_PIECE				(square from)				(square to)		(option)
 * 	6-WRITE_POS_TO_EEPROM		(square)					(none)			(none)
 * 	*/
/*	SoC <--i2c --MAINBOARD (read)
 * 	[DATA0]		[DATA1]		[DATA2]		[DATA3]		[DATA4]		[DATA5]		[DATA6]
 * 	[	 AS5600_J1	  ]		[	AS5600_J2	  ]		[	  BATTERY	  ]		[STATUS]
 * 	[STATUS] = [HAL_UP] [HAL_DOWN] [CHARGING] [MOVE_FINISH]
 * */
#define TEST_DISABLE_STEPPER
/* USER CODE END Header_StartTaskMove */
__weak void StartTaskMove(void const * argument)
{
  /* USER CODE BEGIN StartTaskMove */
	HAL_I2C_EnableListen_IT(&hi2c2);	// khởi tạo giao tiếp I2C với SoC (Address = 0x23)
  /* Infinite loop */
	for (;;) {
		osSemaphoreWait(binarySem_masterCmdHandle, osWaitForever);

		if (data_rev_master[0] == CMD_GRIPPER){
			  if(data_rev_master[1]==0){
				  SERVO_DROP;
				  printf("Gripper open\r\n");
			  }else if(data_rev_master[1]==1){
				  SERVO_PICKUP;
				  printf("Gripper close\r\n");
			  }
		}else if (data_rev_master[0] == CMD_PICK){
			if(data_rev_master[1]==0){
				printf("J3 MOVE DOWN\r\n");
//#ifndef TEST_DISABLE_STEPPER
				j3MoveDown();
//#endif
			}else if(data_rev_master[1]==1){
				printf("J3 MOVE UP\r\n");
//#ifndef TEST_DISABLE_STEPPER
				j3MoveUp(false);
//#endif
			}
		}else if (data_rev_master[0] == CMD_PICKPIECE){
			if(data_rev_master[1]==0){
				printf("DROP PIECE\r\n");
//#ifndef TEST_DISABLE_STEPPER
				dropPiece();
//#endif
			}else if(data_rev_master[1]==1){
				printf("PICKUP PIECE\r\n");
//#ifndef TEST_DISABLE_STEPPER
				pickupPiece();
//#endif
			}
		}else if (data_rev_master[0] == CMD_MOVE){
			if(data_rev_master[1]>=0 && data_rev_master[1]<80){
				printf("MOVE TO SQUARE:%d\r\n",data_rev_master[1]);
//#ifndef TEST_DISABLE_STEPPER
				moveToSquare(data_rev_master[1], false);
//#endif
			}else{
				printf("ERROR! Cannot move to square %d\r\n",data_rev_master[1]);
			}
		}else if (data_rev_master[0] == CMD_MOVEPIECE){
			moveIsFinish = false;
			if((data_rev_master[1]>=0 && data_rev_master[1]<80) && (data_rev_master[2]>=0 && data_rev_master[2]<80)){
				printf("MOVEPIECE %d->%d Option:%d\r\n",data_rev_master[1],data_rev_master[2],data_rev_master[3]);
//#ifndef TEST_DISABLE_STEPPER
				movePiece(data_rev_master[1], data_rev_master[2], data_rev_master[3]);
//#endif
				moveIsFinish = true;
			}else{
				printf("ERROR! Out Range of square\r\n");
			}
		}else if (data_rev_master[0] == CMD_WRITEPOS){
			printf("Write Pos %d To EEPROM\r\n",data_rev_master[1]);
			updateSquarePosition(data_rev_master[1]);
		}else if (data_rev_master[0] == CMD_READPOS){
			printf("Read Pos from EEPROM\r\n");
			readSquarePosition();
		}else if(data_rev_master[0] == CMD_RESET_SQUARE_KILL){
			square_kill_number = 0;
			printf("Reset Square Kill\r\n");
		}
	}
  /* USER CODE END StartTaskMove */
}

__weak void StartTaskMotorJ3(void const * argument)
{
  /* USER CODE BEGIN StartTaskMotorJ3 */
//	osDelay(2000);						// Wait for finish Init
	motor_j3_data.GPIO_PIN_Dir		= J3_DIR_Pin;
	motor_j3_data.GPIO_PORT_Dir		= J3_DIR_GPIO_Port;
	motor_j3_data.GPIO_PORT_Enable	= J3_EN_GPIO_Port;
	motor_j3_data.GPIO_PIN_Enable	= J3_EN_Pin;
	motor_j3_data.USER_TIMER		= TIM5;
	motor_j3_data.TIM_CHANEL		= TIM_CHANNEL_1;
	motor_j3_data.isStop			= false;
	AccelStepper_init(&motor_j3_data, htim5, 0, J3_SPEED, J3_ACCEL_MAX);
	#ifdef USERGETPOS
		enableStepper(&motor_j3_data, OFF);
		while(1){			// disable this task
			osDelay(1000);
		}
	#endif
//		pickAndDropInit();
  /* Infinite loop */
  for(;;)
  {
	  osSemaphoreWait(binarySem_motorJ3Handle, osWaitForever);
	  run(&motor_j3_data);
  }
  /* USER CODE END StartTaskMotorJ3 */
}

/* USER CODE BEGIN Application */
void moveToSquare(uint8_t point,bool continues)
{
	AS5600_Start_Update_High();
	enableStepper(&motor_j1_data, ON);
	enableStepper(&motor_j2_data, ON);
	moveTo(&motor_j1_data,square[point].j1);
	run(&motor_j1_data);
	moveTo(&motor_j2_data,square[point].j2);
	run(&motor_j2_data);
	uint16_t check_time_out=0;
	while( isRunning(&motor_j1_data) || isRunning(&motor_j2_data) ){	// Waiting for move finish
		if( labs(distanceToGo(&motor_j1_data)) < 2  &&  labs(distanceToGo(&motor_j2_data)) < 2 ){		// neu dung sai la nho thi thoat trong khoang 500ms
			check_time_out++;
			if(check_time_out > 100) break;
		}
		osDelay(10);
	}
	motor_j1_data.isStop = true;
	motor_j2_data.isStop = true;

	if(continues==false)
	{
		enableStepper(&motor_j1_data, OFF);
		enableStepper(&motor_j2_data, OFF);
		AS5600_Start_Update_Low();
	}
}

void moveToHome()
{
	moveToSquare(79, false);
}
void moveToKill()
{
	moveToSquare(square_kill_number + 64, true);
	square_kill_number++;
}
void movePiece(uint8_t qFrom,uint8_t qTo,uint8_t option)
{
	if(option == MOVE_PIECE){
		moveToSquare(qFrom, true);
		pickupPiece();
		moveToSquare(qTo, true);
		dropPiece();
		moveToHome();
	}else if(option == MOVE_HOME){
		moveToHome();
	}else if(option == MOVE_KILL)										// Neu la nuoc di an quan thi gap piece ra khoi ban co
	{
		moveToSquare(qTo, true);		// move to piece kill
		pickupPiece();					// pickup
		moveToKill();		// move to square die
		dropPiece();					// drop
		moveToSquare(qFrom, true);
		pickupPiece();
		moveToSquare(qTo, true);
		dropPiece();
		moveToHome();
	}else if(option == MOVE_BCASLLING_KING)
	{
		moveToSquare(60, true);
		pickupPiece();
		moveToSquare(62, true);
		dropPiece();
		moveToSquare(63, true);
		pickupPiece();
		moveToSquare(61, true);
		dropPiece();
		moveToHome();
	}else if(option == MOVE_BCASLLINGG_QUEEN)
	{
		moveToSquare(60, true);
		pickupPiece();
		moveToSquare(58, true);
		dropPiece();
		moveToSquare(56, true);
		pickupPiece();
		moveToSquare(59, true);
		dropPiece();
		moveToHome();
	}
	else if(option == MOVE_WCASLLING_KING)
		{
			moveToSquare(59, true);
			pickupPiece();
			moveToSquare(57, true);
			dropPiece();
			moveToSquare(56, true);
			pickupPiece();
			moveToSquare(58, true);
			dropPiece();
			moveToHome();
		}else if(option == MOVE_WCASLLINGG_QUEEN)
		{
			moveToSquare(59, true);
			pickupPiece();
			moveToSquare(61, true);
			dropPiece();
			moveToSquare(63, true);
			pickupPiece();
			moveToSquare(60, true);
			dropPiece();
			moveToHome();
		}else if(option == MOVE_PASSANT){
		moveToSquare(qTo+8, true);
		pickupPiece();
		moveToKill();
		dropPiece();
		moveToSquare(qFrom, true);
		pickupPiece();
		moveToSquare(qTo, true);
		dropPiece();
		moveToHome();
	}
	enableStepper(&motor_j3_data, OFF);
//	printf("-f\r\n"); //send to Soc ,moved finish
	HAL_UART_Transmit(&huart1,(uint8_t *)"-f\r\n",4,1000);
}

void updateInfo(){
	  int bat_volt	= batteryGet();
	  if(battery_save != bat_volt){
		  battery_save = bat_volt;
		  printf("-B%04d\r\n",battery_save);
		  snprintf(sbattery,sizeof(sbattery),"-B%04d\r\n",battery_save);
		  HAL_UART_Transmit(&huart1,(uint8_t*)sbattery,8,1000);
	  }
	  char getcharging = HAL_GPIO_ReadPin(BATTERY_CHANGER_GPIO_Port, BATTERY_CHANGER_Pin);
	  if(getcharging != charging){
		  charging = getcharging;
		  printf("-b%d\r\n",charging);
		  snprintf(scharging,sizeof(scharging),"-b%d\r\n",charging);
		  HAL_UART_Transmit(&huart1,(uint8_t*)scharging,5,1000);
	  }
	  uint8_t status=0;
	  data_trans_master[0] = (uint8_t)(data_AS5600_M1 & 0xFF);
	  data_trans_master[1] = (uint8_t)((data_AS5600_M1>>8) & 0xFF);
	  data_trans_master[2] = (uint8_t)(data_AS5600_M2 & 0xFF);
	  data_trans_master[3] = (uint8_t)((data_AS5600_M2>>8) & 0xFF);
	  data_trans_master[4] = (uint8_t)(bat_volt & 0xFF);
	  data_trans_master[5] = (uint8_t)((bat_volt>>8) & 0xFF);
	  if(HAL_SENSOR_UP_GET) status|=(1<<0); else status &=~(1<<0);																// Hal_sensor_up
	  if(HAL_SENSOR_DOWN_GET) status |= (1<<1); else status &=~(1<<1);															// Hal_sensor_down
	  if(HAL_GPIO_ReadPin(BATTERY_CHANGER_GPIO_Port, BATTERY_CHANGER_Pin)==GPIO_PIN_RESET) status |=(1<<2); else status &=~(1<<2);  	// Battery Chnager
	  if(moveIsFinish == true) status |=(1<<3); else status &=~(1<<3);
	  data_trans_master[6] = status;

}

void updateSquarePosition(uint16_t squa){
	if(EE_WriteVariable(ADDR_EE_POSJ1 + squa, data_AS5600_M1) != EE_OK){
		printf("Error to Save %d to EEPROM\r\n",squa);
		return;
	}
	if(EE_WriteVariable(ADDR_EE_POSJ2 + squa, data_AS5600_M2) != EE_OK){
		printf("Error to Save %d to EEPROM\r\n",squa);
		return;
	}
	printf("Saved  square  %d to EEPROM\r\n",squa);
}
void readSquarePosition(){
#ifdef MDEBUG
printf("reading...\r\n");
#endif
uint16_t posj1,posj2;
for(int i=0;i<80;i++){
	EE_ReadVariable(ADDR_EE_POSJ1 + i, &posj1);
	EE_ReadVariable(ADDR_EE_POSJ2 + i, &posj2);
	square[i].j1 = posj1;
	square[i].j2 = posj2;
  }
#ifdef MDEBUG2
for(int x=0;x<10;x++){
	for(int y=0;y<8;y++){
		printf("{%d,%d},",square[x*8 +y].j1,square[x*8 +y].j2);
	}
	printf("\r\n");
}
#endif
#ifdef MDEBUG
	printf("read finish\r\n");
#endif

}
void pickAndDropInit(){
	HAL_TIM_PWM_Start(&htim4, TIM_CHANNEL_3);	// Start PWM for Servo
	SERVO_DROP;
	if(HAL_SENSOR_UP_GET==GPIO_PIN_SET){		// neu ko J3 ko phai o vi tri up
		enableStepper(&motor_j3_data, ON);
		moveTo(&motor_j3_data, J3_LIMIT_UP);
		run(&motor_j3_data);
		osDelay(30);
		while( isRunning(&motor_j3_data) && HAL_SENSOR_UP_GET == GPIO_PIN_SET ){	// Waiting for move finish
			osDelay(10);
		}
		enableStepper(&motor_j3_data, OFF);
	}
	motor_j3_data._currentPos = J3_LIMIT_UP;
	motor_j3_data._targetPos = J3_LIMIT_UP;

}
void pickupPiece(){
	SERVO_DROP;
	if(j3MoveDown()==-1){
		j3MoveUp(true);
		SERVO_EXTERN;
		osDelay(200);
		j3MoveDown();
	}
	SERVO_PICKUP;
	osDelay(300);
	j3MoveUp(true);
}
void dropPiece(){
	j3MoveDown();
	SERVO_DROP;
	osDelay(300);
	j3MoveUp(true);
}
int j3MoveUp(bool keep_enable){
	setSpeed(&motor_j3_data, J3_SPEED);
	enableStepper(&motor_j3_data, ON);
	setAcceleration(&motor_j3_data, J3_ACCEL_MAX);
	moveTo(&motor_j3_data, J3_LIMIT_UP);
	run(&motor_j3_data);
	osDelay(300);
	while( isRunning(&motor_j3_data)>0){	// Waiting for move finish
		osDelay(10);
	}
	enableStepper(&motor_j3_data, keep_enable);
	if(HAL_SENSOR_UP_GET == GPIO_PIN_RESET)
		return 0;
	else
		return -1;
}
int j3MoveDown(){
	setSpeed(&motor_j3_data, J3_SPEED);
	enableStepper(&motor_j3_data, ON);
	setAcceleration(&motor_j3_data, J3_ACCEL_MAX);
	moveTo(&motor_j3_data, J3_LIMIT_DOWN);
	motor_j3_data.isComplete=false;
	run(&motor_j3_data);
	osDelay(200);
	while( isRunning(&motor_j3_data)>0){	// Waiting for move finish
		osDelay(10);
	}
	enableStepper(&motor_j3_data, OFF);
	if(HAL_SENSOR_DOWN_GET == GPIO_PIN_RESET)
		return 0;
	else
		return -1;
}

void testDebug(){
	uint8_t _qfrom,_qto;
	_qfrom = 63;
	_qto = 0;
	for(int i=0;i<32;i++){
		movePiece(_qfrom,_qto,0);
		osDelay(500);
		_qfrom--;
		movePiece(_qto, _qfrom, 0);
		_qto++;
		printf("\aMoveCount:%d\r\n",i);
		osDelay(1000);
	}
}
/* USER CODE END Application */

/************************ (C) COPYRIGHT STMicroelectronics *****END OF FILE****/
